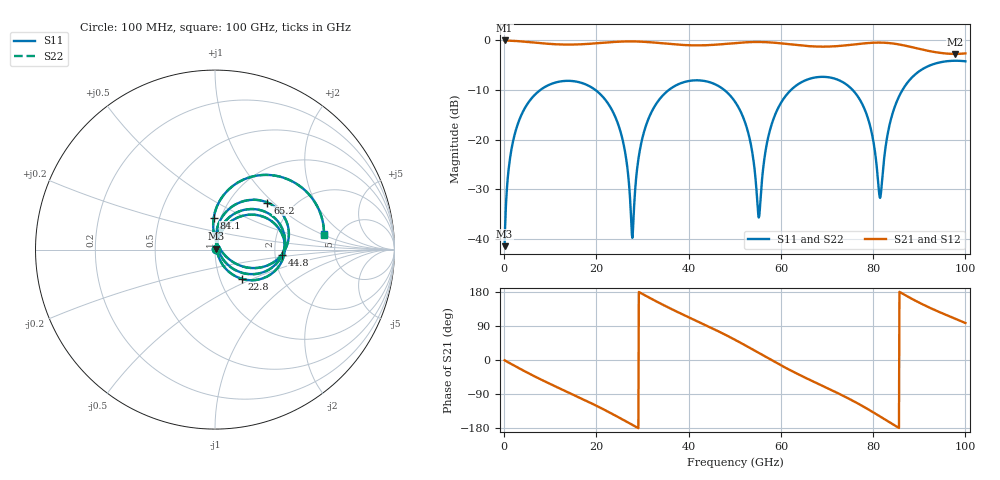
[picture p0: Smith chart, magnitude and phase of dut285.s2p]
! Touchstone file exported from HFSS 2026.1.0
!  File:  C:/ffzhzh/LocalFiles/Ansys_Project_Files/temp_train_TSV_RDL_285_1783679850_33328.aedt
!  Generated:  06:44:10 PM Jul 10, 2026
!  Design:  TSV_RDL
!  Project:  temp_train_TSV_RDL_285_1783679850_33328
! Variables:
!  h_bsmrdl = 2.87um
!  h_ox = 20um
!  h_rdl = 5um
!  h_sub = 81.98um
!  h_tmrdl = 4.29um
!  h_tsv = 81.98um
!  h_via = 3um
!  l_bsmrdl = 120.11um
!  l_sub = 1976.99um
!  l_tmrdl = 264.82um
!  m_sub = 200um
!  pitch = 54.87um
!  r_tsv = 11.91um
!  s_tmrdl = 10um
!  w_bsmrdl = 22.87um
!  w_sub = 500um
!  w_tmrdl = 29.59um
!  x_tsv_center1 = 279.615um
!  x_tsv_center2 = 422.595um
!  x_tsv_center3 = 717.005um
!  x_tsv_center4 = 859.985um
!  x_tsv_center5 = 1154.395um
!  x_tsv_center6 = 1297.375um
# GHz S MA R 50.000000
! Terminal data exported
! Port[1] = TM_RDL1_1_T1
! Port[2] = TM_RDL5_1_T1
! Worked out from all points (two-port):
!   1000 points, 100 MHz to 100 GHz, reference 50 ohm
!   highest |S21| = -0.05 dB at 100 MHz (marker M1); lowest = -2.8 dB at 97.8 GHz (marker M2)
!   |S21| within 3 dB of the highest: start of sweep to end of sweep
!   lowest |S11| = -41.5 dB at 100 MHz (marker M3), VSWR 1.02, Z = 50.6 + j0.565 ohm
!   |S11| at or under -10 dB: 19.75 GHz to 35.72 GHz (15.97 GHz wide, 57.6 % of centre); 47.7 GHz to 62.21 GHz (14.51 GHz wide, 26.4 % of centre); 75.54 GHz to 86.37 GHz (10.84 GHz wide, 13.4 % of centre) (the widest 3 of 4)
!   |S22| runs from -41.5 to -4.1 dB; largest |S21 - S12| = 4.2e-12
!   S11 on the Smith chart (normalised r, x): 100 MHz: 1.01, +0.01; 22.8 GHz: 1.27, -0.43; 44.8 GHz: 2.18, -0.16; 65.2 GHz: 1.48, +0.92; 84.1 GHz: 0.93, +0.34; 100 GHz: 3.87, +1.05
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0.1  0.00846 41.2  0.9937 -0.7  0.9937 -0.7  0.00846 41.2
! Gamma 0 0 0 0
! Port Impedance 50 0 50 0
1.5  0.07573 72.8  0.988 -10.3  0.988 -10.3  0.07573 72.8
4.3  0.1998 57.7  0.9671 -28.7  0.9671 -28.7  0.1998 57.7
16.8  0.3716 -13.1  0.9099 -101.9  0.9099 -101.9  0.3716 -13.1
22.8  0.2204 -47.5  0.9527 -138.2  0.9527 -138.2  0.2204 -47.6
25.9  0.08968 -63.5  0.9701 -158.4  0.9701 -158.4  0.08968 -63.6
27.8  0.01027 11.2  0.9722 -171.2  0.9722 -171.2  0.01019 11.2
29.8  0.09574 78.1  0.966 175.4  0.966 175.4  0.09573 78.1
33.4  0.2445 58.9  0.9384 152.1  0.9384 152.1  0.2445 58.9
44.8  0.3745 -4.8  0.8945 85.4  0.8945 85.4  0.3746 -5.0
50.1  0.2384 -34.9  0.9351 53.0  0.9351 53.0  0.2384 -35.2
53.2  0.1033 -49.9  0.9558 32.4  0.9558 32.4  0.1032 -50.5
55.2  0.01642 14.5  0.9593 18.7  0.9593 18.7  0.01528 14.1
58.4  0.1616 80.3  0.9444 -3.3  0.9444 -3.3  0.1615 80.6
65.2  0.3926 41.9  0.8769 -46.2  0.8769 -46.2  0.3925 42.0
66.7  0.4147 33.6  0.8673 -55.0  0.8673 -55.0  0.4147 33.7
77  0.2574 -23.3  0.9178 -116.8  0.9178 -116.8  0.2573 -23.4
81.5  0.02586 30.4  0.9456 -149.0  0.9456 -149.0  0.02554 30.4
83.4  0.1302 94.4  0.9358 -163.2  0.9358 -163.2  0.1301 94.6
84.1  0.176 92.4  0.9283 -168.4  0.9283 -168.4  0.1759 92.5
97.8  0.621 18.1  0.7275 108.9  0.7275 108.9  0.621 18.1
100  0.6132 7.9  0.7364 97.6  0.7364 97.6  0.6132 7.9
